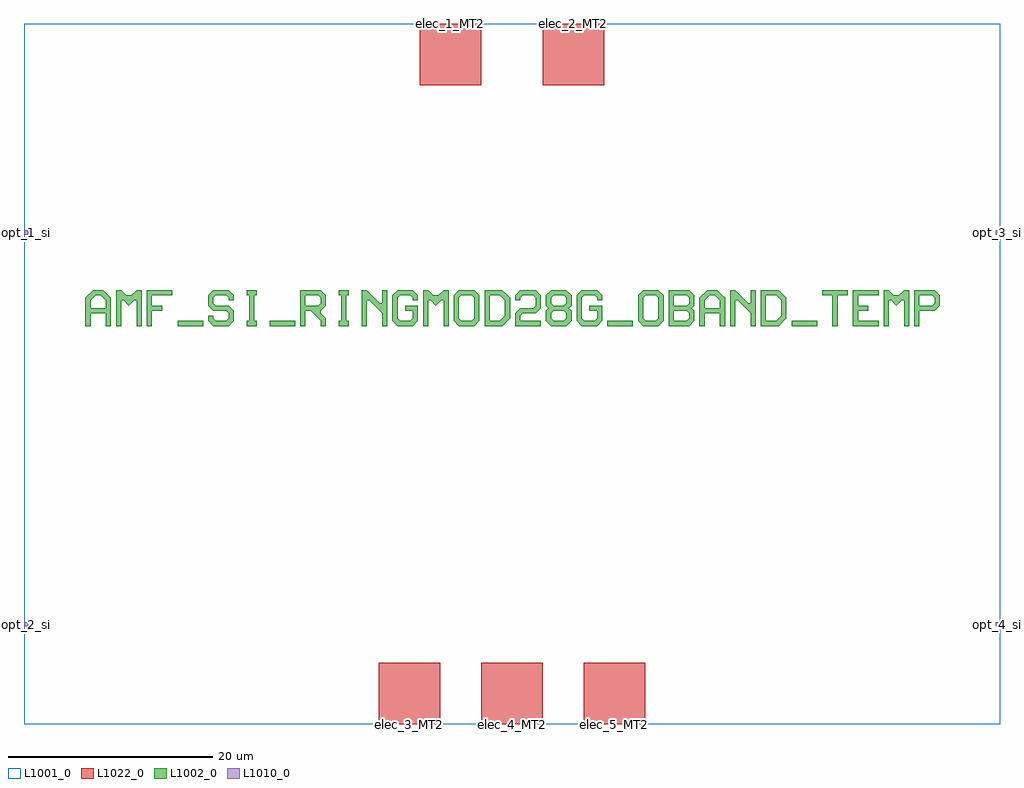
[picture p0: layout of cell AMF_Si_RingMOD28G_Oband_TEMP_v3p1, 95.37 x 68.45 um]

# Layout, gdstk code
import gdstk
lib = gdstk.Library(unit=1e-6, precision=1e-09)
def R(c, l, rs):  # rectangles x0, y0, x1, y1
    for r in rs: c.add(gdstk.rectangle(r[:2], r[2:], *l))
def A(c, l, x, y, w, h, nx, ny, dx, dy):  # array of equal rectangles
    R(c, l, [(x+i*dx, y+j*dy, x+i*dx+w, y+j*dy+h) for i in range(nx) for j in range(ny)])
def P(c, l, *ps):  # polygons
    for p in ps: c.add(gdstk.Polygon(p, *l))
L1001_0 = (1001, 0)
L1002_0 = (1002, 0)
L1010_0 = (1010, 0)
L1022_0 = (1022, 0)

amf_si_ringmod28g_oband_ = lib.new_cell('AMF_Si_RingMOD28G_Oband_TEMP_v3p1')
R(amf_si_ringmod28g_oband_, L1001_0, [(0,-28.912,95.371,39.54)])
P(amf_si_ringmod28g_oband_, L1001_0, [(35.659,-28.775),(35.659,-28.775),(35.659,-28.775),(35.659,-28.775)])
R(amf_si_ringmod28g_oband_, L1002_0, [(15,10,17.5,10.5), (24,10,26.5,10.5), (57,10,59.5,10.5), (75,10,77.5,10.5)])
P(amf_si_ringmod28g_oband_, L1002_0, [(6,10),(6,12.75),(6.75,13.5),(7.75,13.5),(8.25,13),(7,13),(6.5,12.5),(6.5,11.75),(8,11.75),(8,12.5),(7.5,13),(8.25,13),(8.5,12.75),(8.5,10),(8,10),(8,11.25),(6.5,11.25),(6.5,10)],
  [(9,10),(9,13.5),(9.5,13.5),(10,13),(10.5,13),(11,13.5),(11.5,13.5),(11.5,10),(11,10),(11,12.5),(10.75,12.5),(10.25,12),(9.75,12.5),(9.5,12.5),(9.5,10)],
  [(12,10),(12,13.5),(14.5,13.5),(14.5,13),(12.5,13),(12.5,12),(13.5,12),(13.5,11.5),(12.5,11.5),(12.5,10)],
  [(18.5,10),(18,10.5),(18,11),(18.5,11),(18.5,10.75),(18.75,10.5),(19.75,10.5),(20,10.75),(20,11.25),(19.75,11.5),(18.5,11.5),(18,12),(18,13),(18.5,13.5),(20,13.5),(20.5,13),(20.5,12.5),(20,12.5),(20,12.75),(19.75,13),(18.75,13),(18.5,12.75),(18.5,12.25),(18.75,12),(20,12),(20.5,11.5),(20.5,10.5),(20,10)],
  [(21.75,10),(21.75,10.5),(22,10.5),(22,13),(21.75,13),(21.75,13.5),(22.75,13.5),(22.75,13),(22.5,13),(22.5,10.5),(22.75,10.5),(22.75,10)],
  [(27,10),(27,13.5),(29,13.5),(29.5,13),(27.5,13),(27.5,12),(28.75,12),(29,12.25),(29,12.75),(28.75,13),(29.5,13),(29.5,12),(29,11.5),(29,11.25),(29.5,10.75),(29.5,10),(29,10),(29,10.5),(28,11.5),(27.5,11.5),(27.5,10)],
  [(30.75,10),(30.75,10.5),(31,10.5),(31,13),(30.75,13),(30.75,13.5),(31.75,13.5),(31.75,13),(31.5,13),(31.5,10.5),(31.75,10.5),(31.75,10)],
  [(33,10),(33,13.5),(33.5,13.5),(34.75,12.25),(35,12.25),(35,13.5),(35.5,13.5),(35.5,10),(35,10),(35,11.25),(33.75,12.5),(33.5,12.5),(33.5,10)],
  [(36.5,10),(36,10.5),(36,13),(36.5,13.5),(38,13.5),(38.5,13),(38.5,12.5),(38,12.5),(38,12.75),(37.75,13),(36.75,13),(36.5,12.75),(36.5,10.75),(36.75,10.5),(37.75,10.5),(38,10.75),(38,11.5),(37.25,11.5),(37.25,12),(38.5,12),(38.5,10.5),(38,10)],
  [(39,10),(39,13.5),(39.5,13.5),(40,13),(40.5,13),(41,13.5),(41.5,13.5),(41.5,10),(41,10),(41,12.5),(40.75,12.5),(40.25,12),(39.75,12.5),(39.5,12.5),(39.5,10)],
  [(42.5,10),(42,10.5),(42,13),(42.5,13.5),(44,13.5),(44.5,13),(44.5,11.75),(44,11.75),(44,12.75),(43.75,13),(42.75,13),(42.5,12.75),(42.5,10.75),(42.75,10.5),(43.75,10.5),(44,10.75),(44,11.75),(44.5,11.75),(44.5,10.5),(44,10)],
  [(45,10),(45,13.5),(46.75,13.5),(47.25,13),(45.5,13),(45.5,10.5),(46.5,10.5),(47,11),(47,12.5),(46.5,13),(47.25,13),(47.5,12.75),(47.5,10.75),(46.75,10)],
  [(48,10),(48,11.25),(48.5,11.75),(49.75,11.75),(50,12),(50,12.75),(49.75,13),(48.75,13),(48.5,12.75),(48.5,12.5),(48,12.5),(48,13),(48.5,13.5),(50,13.5),(50.5,13),(50.5,11.75),(50,11.25),(48.75,11.25),(48.5,11),(48.5,10.5),(50.5,10.5),(50.5,10)],
  [(51.5,10),(51,10.5),(51,11.5),(51.25,11.75),(51,12),(51,13),(51.5,13.5),(53,13.5),(53.5,13),(51.75,13),(51.5,12.75),(51.5,12.25),(51.75,12),(52.75,12),(53,12.25),(53,12.75),(52.75,13),(53.5,13),(53.5,12),(53.25,11.75),(53.5,11.5),(51.75,11.5),(51.5,11.25),(51.5,10.75),(51.75,10.5),(52.75,10.5),(53,10.75),(53,11.25),(52.75,11.5),(53.5,11.5),(53.5,10.5),(53,10)],
  [(54.5,10),(54,10.5),(54,13),(54.5,13.5),(56,13.5),(56.5,13),(56.5,12.5),(56,12.5),(56,12.75),(55.75,13),(54.75,13),(54.5,12.75),(54.5,10.75),(54.75,10.5),(55.75,10.5),(56,10.75),(56,11.5),(55.25,11.5),(55.25,12),(56.5,12),(56.5,10.5),(56,10)],
  [(60.5,10),(60,10.5),(60,13),(60.5,13.5),(62,13.5),(62.5,13),(62.5,11.75),(62,11.75),(62,12.75),(61.75,13),(60.75,13),(60.5,12.75),(60.5,10.75),(60.75,10.5),(61.75,10.5),(62,10.75),(62,11.75),(62.5,11.75),(62.5,10.5),(62,10)],
  [(63,10),(63,13.5),(65,13.5),(65.5,13),(63.5,13),(63.5,12),(64.75,12),(65,12.25),(65,12.75),(64.75,13),(65.5,13),(65.5,12),(65.25,11.75),(65.5,11.5),(63.5,11.5),(63.5,10.5),(64.75,10.5),(65,10.75),(65,11.25),(64.75,11.5),(65.5,11.5),(65.5,10.5),(65,10)],
  [(66,10),(66,12.75),(66.75,13.5),(67.75,13.5),(68.25,13),(67,13),(66.5,12.5),(66.5,11.75),(68,11.75),(68,12.5),(67.5,13),(68.25,13),(68.5,12.75),(68.5,10),(68,10),(68,11.25),(66.5,11.25),(66.5,10)],
  [(69,10),(69,13.5),(69.5,13.5),(70.75,12.25),(71,12.25),(71,13.5),(71.5,13.5),(71.5,10),(71,10),(71,11.25),(69.75,12.5),(69.5,12.5),(69.5,10)],
  [(72,10),(72,13.5),(73.75,13.5),(74.25,13),(72.5,13),(72.5,10.5),(73.5,10.5),(74,11),(74,12.5),(73.5,13),(74.25,13),(74.5,12.75),(74.5,10.75),(73.75,10)],
  [(79,10),(79,13),(78,13),(78,13.5),(80.5,13.5),(80.5,13),(79.5,13),(79.5,10)],
  [(81,10),(81,13.5),(83.5,13.5),(83.5,13),(81.5,13),(81.5,12),(82.5,12),(82.5,11.5),(81.5,11.5),(81.5,10.5),(83.5,10.5),(83.5,10)],
  [(84,10),(84,13.5),(84.5,13.5),(85,13),(85.5,13),(86,13.5),(86.5,13.5),(86.5,10),(86,10),(86,12.5),(85.75,12.5),(85.25,12),(84.75,12.5),(84.5,12.5),(84.5,10)],
  [(87,10),(87,13.5),(89,13.5),(89.5,13),(89.5,12),(89,11.5),(87.5,11.5),(87.5,12),(88.75,12),(89,12.25),(89,12.75),(88.75,13),(87.5,13),(87.5,10)])
R(amf_si_ringmod28g_oband_, L1010_0, [(0,-19.345,0.41,-18.935), (94.961,-19.345,95.371,-18.935), (0,18.935,0.41,19.345), (94.961,18.935,95.371,19.345)])
A(amf_si_ringmod28g_oband_, L1022_0, 34.686, -28.912, 6, 6, 3, 1, 10, 0)
R(amf_si_ringmod28g_oband_, L1022_0, [(38.686,33.54,44.686,39.54), (50.686,33.54,56.686,39.54)])
amf_si_ringmod28g_oband_.add(gdstk.Label('opt_1_si', (0,19.14), layer=1010, texttype=0))
amf_si_ringmod28g_oband_.add(gdstk.Label('opt_2_si', (0,-19.14), layer=1010, texttype=0))
amf_si_ringmod28g_oband_.add(gdstk.Label('opt_3_si', (95.371,19.14), layer=1010, texttype=0))
amf_si_ringmod28g_oband_.add(gdstk.Label('opt_4_si', (95.371,-19.14), layer=1010, texttype=0))
amf_si_ringmod28g_oband_.add(gdstk.Label('elec_1_MT2', (41.686,39.54), layer=1022, texttype=0))
amf_si_ringmod28g_oband_.add(gdstk.Label('elec_2_MT2', (53.686,39.54), layer=1022, texttype=0))
amf_si_ringmod28g_oband_.add(gdstk.Label('elec_3_MT2', (37.686,-28.912), layer=1022, texttype=0))
amf_si_ringmod28g_oband_.add(gdstk.Label('elec_4_MT2', (47.686,-28.912), layer=1022, texttype=0))
amf_si_ringmod28g_oband_.add(gdstk.Label('elec_5_MT2', (57.686,-28.912), layer=1022, texttype=0))

lib.write_gds('AMF_Si_RingMOD28G_Oband_TEMP_v3p1.gds')
